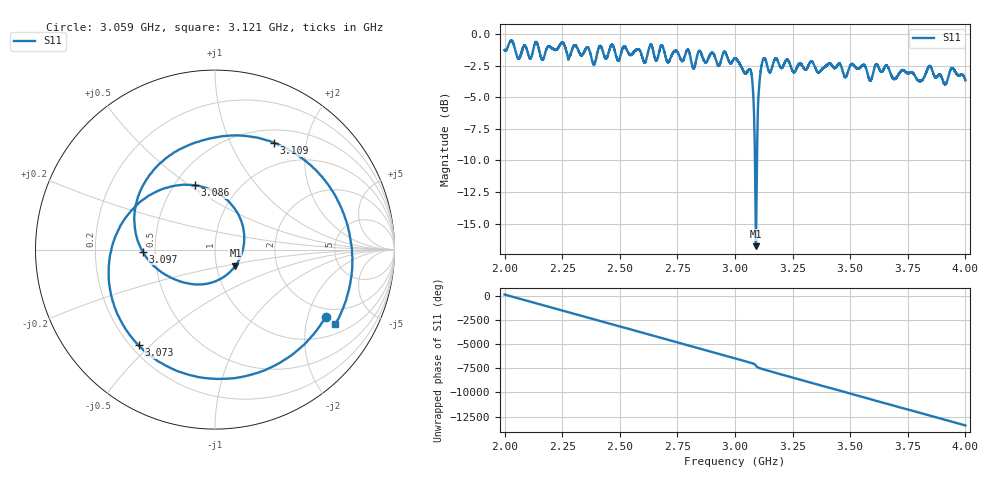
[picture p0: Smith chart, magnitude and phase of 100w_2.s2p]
!Agilent Technologies,E8362B,MY43021131,A.07.50.67
!Agilent E8362B: A.07.50.67
!Date: Thursday, March 14, 2024 13:41:25
!Correction: S11(Off)
!S21(Off)
!S12(Off)
!S22(Off)
!S2P File: Measurements: S11, S21, S12, S22:
# Hz S  RI  R 50
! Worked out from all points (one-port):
!   20001 points, 2 GHz to 4 GHz, reference 50 ohm
!   lowest |S11| = -16.8 dB at 3.091 GHz (marker M1), VSWR 1.34, Z = 61.7 - j11.3 ohm
!   |S11| at or under -10 dB: 3.086717 GHz to 3.095409 GHz (8.693 MHz wide, 0.281 % of centre)
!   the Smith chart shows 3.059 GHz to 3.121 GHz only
!   S11 on the Smith chart (normalised r, x): 3.059 GHz: 1.66, -2.60; 3.073 GHz: 0.23, -0.46; 3.086 GHz: 0.63, +0.53; 3.097 GHz: 0.43, -0.01; 3.109 GHz: 0.67, +1.48; 3.121 GHz: 1.34, -2.96
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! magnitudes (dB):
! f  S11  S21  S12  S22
! 2 GHz  -1.3  -  -  -
! 2.029 GHz  -0.5  -  -  -
! 2.112 GHz  -1.9  -  -  -
! 2.137 GHz  -0.6  -  -  -
! 2.165 GHz  -2.0  -  -  -
! 2.25 GHz  -0.7  -  -  -
! 2.333 GHz  -1.7  -  -  -
! 2.667 GHz  -1.7  -  -  -
! 3 GHz  -1.9  -  -  -
! 3.059 GHz  -2.8  -  -  -
! 3.073 GHz  -3.3  -  -  -
! 3.086 GHz  -8.5  -  -  -
! 3.091 GHz  -16.8  -  -  -
! 3.097 GHz  -7.9  -  -  -
! 3.109 GHz  -3.4  -  -  -
! 3.121 GHz  -2.0  -  -  -
! 3.333 GHz  -2.2  -  -  -
! 3.479 GHz  -3.4  -  -  -
! 3.558 GHz  -2.4  -  -  -
! 3.587 GHz  -3.7  -  -  -
! 3.667 GHz  -2.7  -  -  -
! 4 GHz  -3.7  -  -  -
